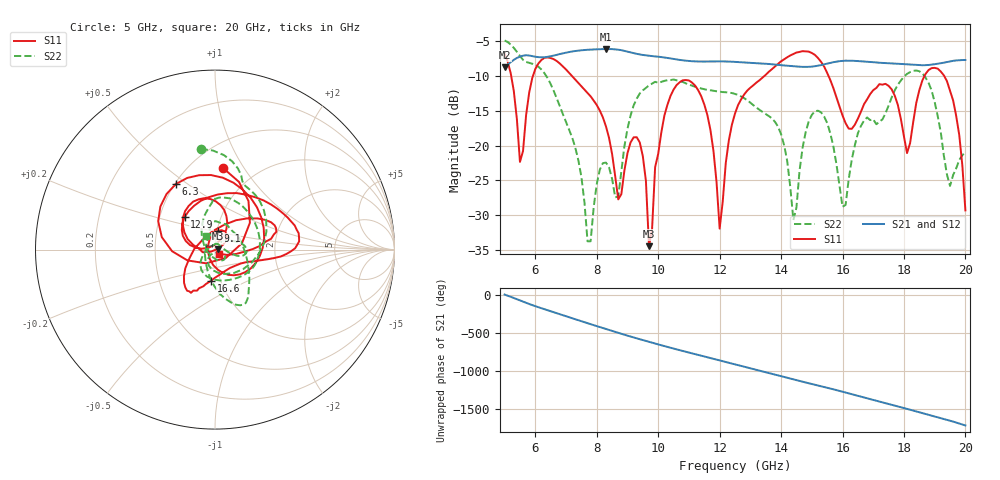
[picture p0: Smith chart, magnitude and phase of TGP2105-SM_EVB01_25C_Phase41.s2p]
! Date: Wednesday, June 05, 2013  1:51 PM
! Filename: C:\Data\Mike_Arnold\TGP2105-SM\Over_Temp\TGP2105-SM_EVB01_25C_Phase41.s2p
! Comments:
!^VDC(V):5.000
!^VDC(mA):0.056
!%Freq(GHz),S11(dB),S11(ang),S21(dB),S21(ang),S12(dB),S12(ang),S22(dB),S22(ang)
# GHz  S  DB  R  50
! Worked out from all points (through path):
!   151 points, 5 GHz to 20 GHz, reference 50 ohm
!   highest |S21| = -6.17 dB at 8.3 GHz (marker M1); lowest = -8.8 dB at 5 GHz (marker M2)
!   lowest |S11| = -34.4 dB at 9.7 GHz (marker M3), VSWR 1.04, Z = 51.9 + j0.521 ohm
!   |S11| at or under -10 dB: 5.213 GHz to 5.925 GHz (712 MHz wide, 12.8 % of centre); 7.187 GHz to 13.46 GHz (6.278 GHz wide, 60.8 % of centre); 15.54 GHz to 18.67 GHz (3.131 GHz wide, 18.3 % of centre)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
!   |S22| runs from -33.7 to -4.9 dB; largest |S21 - S12| = 0.0022
!   S11 on the Smith chart (normalised r, x): 5 GHz: 0.71, +0.81; 6.3 GHz: 0.51, +0.45; 9.1 GHz: 1.01, +0.21; 12.9 GHz: 0.67, +0.26; 16.6 GHz: 0.90, -0.32; 20 GHz: 1.05, -0.05
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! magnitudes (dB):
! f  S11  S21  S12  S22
! 5 GHz  -6.8  -8.8  -8.8  -4.9
! 5.5 GHz  -22.4  -7.3  -7.3  -7.2
! 6.3 GHz  -7.4  -7.3  -7.4  -9.7
! 7.5 GHz  -11.5  -6.3  -6.4  -24.5
! 7.8 GHz  -13.0  -6.2  -6.3  -33.7
! 8.3 GHz  -17.3  -6.2  -6.2  -22.5
! 8.7 GHz  -27.7  -6.3  -6.3  -27.3
! 9.1 GHz  -19.6  -6.6  -6.7  -15.7
! 9.7 GHz  -34.4  -7.1  -7.2  -11.4
! 10 GHz  -21.2  -7.3  -7.3  -11.0
! 11.2 GHz  -11.4  -7.9  -8.0  -11.6
! 12 GHz  -31.9  -7.9  -8.0  -12.3
! 12.5 GHz  -15.4  -8.0  -8.0  -12.6
! 12.9 GHz  -12.1  -8.1  -8.1  -13.5
! 14.4 GHz  -6.9  -8.6  -8.6  -30.7
! 15 GHz  -6.7  -8.7  -8.7  -15.6
! 16 GHz  -15.7  -7.9  -7.9  -28.8
! 16.6 GHz  -15.2  -7.9  -8.0  -17.2
! 17.5 GHz  -11.4  -8.2  -8.2  -14.3
! 18.1 GHz  -21.1  -8.3  -8.4  -9.7
! 19.3 GHz  -9.9  -8.1  -8.2  -21.5
! 20 GHz  -29.3  -7.7  -7.8  -20.9
